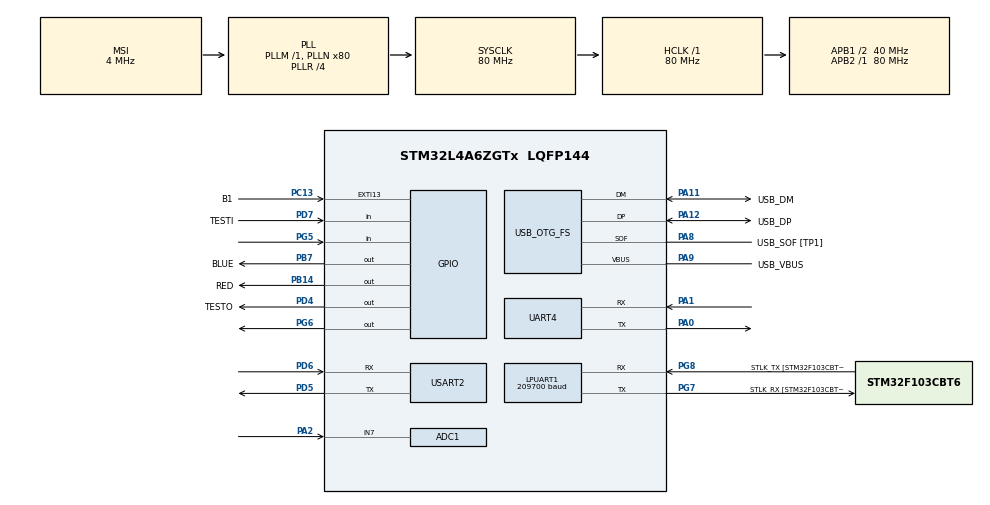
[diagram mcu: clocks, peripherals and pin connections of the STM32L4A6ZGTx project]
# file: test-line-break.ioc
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ADC1.Channel-2\#ChannelRegularConversion=ADC_CHANNEL_7
ADC1.NbrOfConversionFlag=1
ADC1.OffsetNumber-2\#ChannelRegularConversion=ADC_OFFSET_NONE
ADC1.Rank-2\#ChannelRegularConversion=1
ADC1.SamplingTime-2\#ChannelRegularConversion=ADC_SAMPLETIME_2CYCLES_5
ADC1.master=1
Dma.Request0=USART2_RX
Dma.Request1=USART2_TX
Dma.USART2_RX.0.Direction=DMA_PERIPH_TO_MEMORY
Dma.USART2_RX.0.Instance=DMA1_Channel6
Dma.USART2_RX.0.MemDataAlignment=DMA_MDATAALIGN_BYTE
Dma.USART2_RX.0.MemInc=DMA_MINC_ENABLE
Dma.USART2_RX.0.Mode=DMA_NORMAL
Dma.USART2_RX.0.PeriphDataAlignment=DMA_PDATAALIGN_BYTE
Dma.USART2_RX.0.PeriphInc=DMA_PINC_DISABLE
Dma.USART2_RX.0.Priority=DMA_PRIORITY_LOW
Dma.USART2_TX.1.Direction=DMA_MEMORY_TO_PERIPH
Dma.USART2_TX.1.Instance=DMA1_Channel7
Dma.USART2_TX.1.MemDataAlignment=DMA_MDATAALIGN_BYTE
Dma.USART2_TX.1.MemInc=DMA_MINC_ENABLE
Dma.USART2_TX.1.Mode=DMA_NORMAL
Dma.USART2_TX.1.PeriphDataAlignment=DMA_PDATAALIGN_BYTE
Dma.USART2_TX.1.PeriphInc=DMA_PINC_DISABLE
Dma.USART2_TX.1.Priority=DMA_PRIORITY_LOW
LPUART1.AutoBaudRateEnableParam=UART_ADVFEATURE_AUTOBAUDRATE_DISABLE
LPUART1.BaudRate=209700
LPUART1.DMADisableonRxErrorParam=UART_ADVFEATURE_DMA_ENABLEONRXERROR
LPUART1.DataInvertParam=UART_ADVFEATURE_DATAINV_DISABLE
LPUART1.MSBFirstParam=UART_ADVFEATURE_MSBFIRST_DISABLE
LPUART1.Mode=UART_MODE_TX_RX
LPUART1.OneBitSampling=UART_ONE_BIT_SAMPLE_DISABLE
LPUART1.OverrunDisableParam=UART_ADVFEATURE_OVERRUN_ENABLE
LPUART1.Parity=UART_PARITY_NONE
LPUART1.RxPinLevelInvertParam=UART_ADVFEATURE_RXINV_DISABLE
LPUART1.StopBits=UART_STOPBITS_1
LPUART1.SwapParam=UART_ADVFEATURE_SWAP_DISABLE
LPUART1.TxPinLevelInvertParam=UART_ADVFEATURE_TXINV_DISABLE
LPUART1.WordLength=UART_WORDLENGTH_7B
Mcu.Family=STM32L4
Mcu.Name=STM32L4A6ZGTx
Mcu.Package=LQFP144
NVIC.DMA1_Channel6_IRQn=true\:0\:0\:false\:false\:true\:false\:true
NVIC.DMA1_Channel7_IRQn=true\:0\:0\:false\:false\:true\:false\:true
NVIC.PriorityGroup=NVIC_PRIORITYGROUP_4
NVIC.USART2_IRQn=true\:0\:0\:false\:false\:true\:true\:true
PA0.Mode=Asynchronous
PA0.Signal=UART4_TX
PA1.Mode=Asynchronous
PA1.Signal=UART4_RX
PA10.GPIO_Label=USB_ID
PA10.Signal=USB_OTG_FS_ID
PA11.GPIO_Label=USB_DM
PA11.Mode=Device_Only
PA11.Signal=USB_OTG_FS_DM
PA12.GPIO_Label=USB_DP
PA12.Mode=Device_Only
PA12.Signal=USB_OTG_FS_DP
PA13\ (JTMS/SWDIO).GPIO_Label=TMS
PA13\ (JTMS/SWDIO).Mode=Trace_Asynchronous_SW
PA13\ (JTMS/SWDIO).Signal=SYS_JTMS-SWDIO
PA14\ (JTCK/SWCLK).GPIO_Label=TCK
PA14\ (JTCK/SWCLK).Mode=Trace_Asynchronous_SW
PA14\ (JTCK/SWCLK).Signal=SYS_JTCK-SWCLK
PA2.Signal=ADCx_IN7
PA8.GPIO_Label=USB_SOF [TP1]
PA8.Mode=Activate_SOF_FS
PA8.Signal=USB_OTG_FS_SOF
PA9.GPIO_Label=USB_VBUS
PA9.Mode=Activate_VBUS
PA9.Signal=USB_OTG_FS_VBUS
PB14.GPIO_Label=RED
PB14.Signal=GPIO_Output
PB3\ (JTDO/TRACESWO).GPIO_Label=SWO
PB3\ (JTDO/TRACESWO).Mode=Trace_Asynchronous_SW
PB3\ (JTDO/TRACESWO).Signal=SYS_JTDO-SWO
PB7.GPIO_Label=BLUE
PB7.Signal=GPIO_Output
PC13.GPIO_Label=B1
PC13.Signal=GPXTI13
PC14-OSC32_IN\ (PC14).Mode=LSE-External-Oscillator
PC14-OSC32_IN\ (PC14).Signal=RCC_OSC32_IN
PC15-OSC32_OUT\ (PC15).Mode=LSE-External-Oscillator
PC15-OSC32_OUT\ (PC15).Signal=RCC_OSC32_OUT
PD4.GPIO_Label=TESTO
PD4.Signal=GPIO_Output
PD5.Mode=Asynchronous
PD5.Signal=USART2_TX
PD6.Mode=Asynchronous
PD6.Signal=USART2_RX
PD7.GPIO_Label=TESTI
PD7.Signal=GPIO_Input
PG5.Signal=GPIO_Input
PG6.Signal=GPIO_Output
PG7.GPIO_Label=STLK_RX [STM32F103CBT6_PA3]
PG7.Mode=Asynchronous
PG7.Signal=LPUART1_TX
PG8.GPIO_Label=STLK_TX [STM32F103CBT6_PA2]
PG8.Mode=Asynchronous
PG8.Signal=LPUART1_RX
PH1-OSC_OUT\ (PH1).Signal=RCC_OSC_OUT
ProjectManager.HeapSize=0x200
ProjectManager.StackSize=0x400
ProjectManager.TargetToolchain=SW4STM32
RCC.ADCFreq_Value=48000000
RCC.AHBFreq_Value=80000000
RCC.APB1CLKDivider=RCC_HCLK_DIV2
RCC.APB1Freq_Value=40000000
RCC.APB1TimFreq_Value=80000000
RCC.APB2Freq_Value=80000000
RCC.APB2TimFreq_Value=80000000
RCC.CortexFreq_Value=80000000
RCC.FLatency=FLASH_LATENCY_4
RCC.HCLKFreq_Value=80000000
RCC.HSE_VALUE=8000000
RCC.HSI48_VALUE=48000000
RCC.HSI_VALUE=16000000
RCC.MSI_VALUE=4000000
RCC.PLLN=80
RCC.PLLR=RCC_PLLR_DIV4
RCC.PLLSAI1N=24
RCC.SYSCLKFreq_VALUE=80000000
RCC.SYSCLKSource=RCC_SYSCLKSOURCE_PLLCLK
RCC.USBFreq_Value=48000000
RCC.VCOOutputFreq_Value=320000000
SH.ADCx_IN7.0=ADC2_IN7
SH.ADCx_IN7.1=ADC1_IN7,IN7-Single-Ended
USART2.VirtualMode-Asynchronous=VM_ASYNC
USB_OTG_FS.Sof_enable=ENABLE
USB_OTG_FS.VirtualMode=Device_Only
USB_OTG_FS.battery_charging_enable=ENABLE
USB_OTG_FS.low_power_enable=DISABLE
USB_OTG_FS.lpm_enable=DISABLE
USB_OTG_FS.use_dedicated_ep1=DISABLE
USB_OTG_FS.vbus_sensing_enable=ENABLE
board=NUCLEO-L4A6ZG

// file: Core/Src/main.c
/* USER CODE BEGIN Header */
/**
  ******************************************************************************
  * @file           : main.c
  * @brief          : Main program body
  ******************************************************************************
  * @attention
  *
  * <h2><center>&copy; Copyright (c) 2021 STMicroelectronics.
  * All rights reserved.</center></h2>
  *
  * This software component is licensed by ST under BSD 3-Clause license,
  * the "License"; You may not use this file except in compliance with the
  * License. You may obtain a copy of the License at:
  *                        opensource.org/licenses/BSD-3-Clause
  *
  ******************************************************************************
  */
/* USER CODE END Header */
#include "main.h"

ADC_HandleTypeDef hadc1;

UART_HandleTypeDef hlpuart1;
UART_HandleTypeDef huart4;
UART_HandleTypeDef huart2;
DMA_HandleTypeDef hdma_usart2_rx;
DMA_HandleTypeDef hdma_usart2_tx;

PCD_HandleTypeDef hpcd_USB_OTG_FS;

void SystemClock_Config(void);
static void MX_GPIO_Init(void);
static void MX_DMA_Init(void);
static void MX_LPUART1_UART_Init(void);
static void MX_USART2_UART_Init(void);
static void MX_USB_OTG_FS_PCD_Init(void);
static void MX_UART4_Init(void);
static void MX_ADC1_Init(void);
/* USER CODE BEGIN PFP */

volatile uint32_t adcv;
volatile uint32_t lbrk;
volatile uint32_t *ptr;
char str[128];

void uart_send(char *s, int n) {
	USART_TypeDef *uart = USART2;
	for (int i = 0; i < n; ++i) {
		while ((uart->ISR & USART_ISR_TXE) == 0) { ; }
		uart->TDR = s[i];
	}
	while ((uart->ISR & USART_ISR_TXE) == 0) { ; }
}

uint32_t calibrate_adc(ADC_TypeDef *adc)
{
	adc->CR &= ~(ADC_CR_DEEPPWD);
	adc->CR |= (ADC_CR_ADVREGEN);
	HAL_Delay(250);
	adc->CR &= ~(ADC_CR_ADEN);
	adc->CR &= ~(ADC_CR_ADCALDIF);
	adc->CR |= (ADC_CR_ADCAL);
	while (adc->CR & ADC_CR_ADCAL) { ; }
	uint32_t cal_fact = adc->CALFACT;
	return cal_fact;
}

/* USER CODE END PFP */

int main(void)
{

  /* MCU Configuration--------------------------------------------------------*/

  /* Reset of all peripherals, Initializes the Flash interface and the Systick. */
  HAL_Init();

  /* Configure the system clock */
  SystemClock_Config();

  /* Initialize all configured peripherals */
  MX_GPIO_Init();
  MX_DMA_Init();
  MX_LPUART1_UART_Init();
  MX_USART2_UART_Init();
  MX_USB_OTG_FS_PCD_Init();
  MX_UART4_Init();
  MX_ADC1_Init();

  /* Infinite loop */
  /* USER CODE BEGIN WHILE */

  ADC_TypeDef *adc = ADC1;
  HAL_Delay(1000); /* after enabling vref */

  calibrate_adc(adc);

  adc->CR |= (ADC_CR_ADEN);

  USART_TypeDef *uart = USART2;
  int cntr = 0;

  while (1)
  {

	  ADC_TypeDef *adc = ADC1;
	  if (adc->CR & ADC_CR_ADEN) {
		  adc->SQR1 = (6 << ADC_SQR1_SQ1_Pos);
		  adc->CR |= (ADC_CR_ADSTART);
		  while (adc->CR & ADC_CR_ADSTART) { ; }
		  HAL_Delay(100);
		  adcv = adc->DR;
		  ++cntr;
		  int n = snprintf(str, sizeof (str), "%4.4d ADC=0x%4.4x\r\n", cntr, adcv);
		  uart_send(str, n);
	  }

#if 0
	  HAL_Delay(500);
	  RED_GPIO_Port->BSRR = (RED_Pin << 0x10);
	  HAL_Delay(500);
	  RED_GPIO_Port->BSRR = (RED_Pin << 0x00);

	  uint32_t status = uart->ISR;
	  if (status & USART_ISR_RXNE) {
		  uint8_t c = uart->RDR;
		  uart->TDR = c + 1;
	  }
#endif

#if 0
	  lbrk = status & USART_ISR_LBDF;
	  while (lbrk) {
		  HAL_Delay(100);
		  RED_GPIO_Port->BSRR = (RED_Pin << 0x10);
		  HAL_Delay(100);
		  RED_GPIO_Port->BSRR = (RED_Pin << 0x00);
		  status = uart->ISR;
		  lbrk = status & USART_ISR_LBDF;
	  }
#endif

#if 0
	  lbrk = status & USART_ISR_FE;
	  while (lbrk) {
		  HAL_Delay(100);
		  RED_GPIO_Port->BSRR = (RED_Pin << 0x10);
		  HAL_Delay(100);
		  RED_GPIO_Port->BSRR = (RED_Pin << 0x00);
		  status = uart->ISR;
		  lbrk = status & USART_ISR_FE;
	  }
#endif

#if 0
	  lbrk = GPIOD->IDR;
	  if (lbrk & (1 << 6)) {
		  // RED_GPIO_Port->BSRR = (RED_Pin << 0x10);
		  GPIOB->BSRR = (1 << (7 + 0 * 0x10));
	  } else {
		  // RED_GPIO_Port->BSRR = (RED_Pin << 0x00);
		  GPIOB->BSRR = (1 << (7 + 1 * 0x10));
	  }
#endif

    /* USER CODE END WHILE */

  }
}

void SystemClock_Config(void)
{
  RCC_OscInitTypeDef RCC_OscInitStruct = {0};
  RCC_ClkInitTypeDef RCC_ClkInitStruct = {0};
  RCC_PeriphCLKInitTypeDef PeriphClkInit = {0};

  /** Configure LSE Drive Capability
  */
  HAL_PWR_EnableBkUpAccess();
  __HAL_RCC_LSEDRIVE_CONFIG(RCC_LSEDRIVE_LOW);
  /** Initializes the RCC Oscillators according to the specified parameters
  * in the RCC_OscInitTypeDef structure.
  */
  RCC_OscInitStruct.OscillatorType = RCC_OSCILLATORTYPE_LSE|RCC_OSCILLATORTYPE_MSI;
  RCC_OscInitStruct.LSEState = RCC_LSE_ON;
  RCC_OscInitStruct.MSIState = RCC_MSI_ON;
  RCC_OscInitStruct.MSICalibrationValue = 0;
  RCC_OscInitStruct.MSIClockRange = RCC_MSIRANGE_6;
  RCC_OscInitStruct.PLL.PLLState = RCC_PLL_ON;
  RCC_OscInitStruct.PLL.PLLSource = RCC_PLLSOURCE_MSI;
  RCC_OscInitStruct.PLL.PLLM = 1;
  RCC_OscInitStruct.PLL.PLLN = 80;
  RCC_OscInitStruct.PLL.PLLP = RCC_PLLP_DIV2;
  RCC_OscInitStruct.PLL.PLLQ = RCC_PLLQ_DIV2;
  RCC_OscInitStruct.PLL.PLLR = RCC_PLLR_DIV4;
  if (HAL_RCC_OscConfig(&RCC_OscInitStruct) != HAL_OK)
  {
    Error_Handler();
  }
  /** Initializes the CPU, AHB and APB buses clocks
  */
  RCC_ClkInitStruct.ClockType = RCC_CLOCKTYPE_HCLK|RCC_CLOCKTYPE_SYSCLK
                              |RCC_CLOCKTYPE_PCLK1|RCC_CLOCKTYPE_PCLK2;
  RCC_ClkInitStruct.SYSCLKSource = RCC_SYSCLKSOURCE_PLLCLK;
  RCC_ClkInitStruct.AHBCLKDivider = RCC_SYSCLK_DIV1;
  RCC_ClkInitStruct.APB1CLKDivider = RCC_HCLK_DIV2;
  RCC_ClkInitStruct.APB2CLKDivider = RCC_HCLK_DIV1;

  if (HAL_RCC_ClockConfig(&RCC_ClkInitStruct, FLASH_LATENCY_4) != HAL_OK)
  {
    Error_Handler();
  }
  PeriphClkInit.PeriphClockSelection = RCC_PERIPHCLK_USART2|RCC_PERIPHCLK_UART4
                              |RCC_PERIPHCLK_LPUART1|RCC_PERIPHCLK_USB
                              |RCC_PERIPHCLK_ADC;
  PeriphClkInit.Usart2ClockSelection = RCC_USART2CLKSOURCE_PCLK1;
  PeriphClkInit.Uart4ClockSelection = RCC_UART4CLKSOURCE_PCLK1;
  PeriphClkInit.Lpuart1ClockSelection = RCC_LPUART1CLKSOURCE_PCLK1;
  PeriphClkInit.AdcClockSelection = RCC_ADCCLKSOURCE_PLLSAI1;
  PeriphClkInit.UsbClockSelection = RCC_USBCLKSOURCE_PLLSAI1;
  PeriphClkInit.PLLSAI1.PLLSAI1Source = RCC_PLLSOURCE_MSI;
  PeriphClkInit.PLLSAI1.PLLSAI1M = 1;
  PeriphClkInit.PLLSAI1.PLLSAI1N = 24;
  PeriphClkInit.PLLSAI1.PLLSAI1P = RCC_PLLP_DIV2;
  PeriphClkInit.PLLSAI1.PLLSAI1Q = RCC_PLLQ_DIV2;
  PeriphClkInit.PLLSAI1.PLLSAI1R = RCC_PLLR_DIV2;
  PeriphClkInit.PLLSAI1.PLLSAI1ClockOut = RCC_PLLSAI1_48M2CLK|RCC_PLLSAI1_ADC1CLK;
  if (HAL_RCCEx_PeriphCLKConfig(&PeriphClkInit) != HAL_OK)
  {
    Error_Handler();
  }
  /** Configure the main internal regulator output voltage
  */
  if (HAL_PWREx_ControlVoltageScaling(PWR_REGULATOR_VOLTAGE_SCALE1) != HAL_OK)
  {
    Error_Handler();
  }
  /** Enable MSI Auto calibration
  */
  HAL_RCCEx_EnableMSIPLLMode();
}

static void MX_ADC1_Init(void)
{

  ADC_MultiModeTypeDef multimode = {0};
  ADC_ChannelConfTypeDef sConfig = {0};

  /** Common config
  */
  hadc1.Instance = ADC1;
  hadc1.Init.ClockPrescaler = ADC_CLOCK_ASYNC_DIV1;
  hadc1.Init.Resolution = ADC_RESOLUTION_12B;
  hadc1.Init.DataAlign = ADC_DATAALIGN_RIGHT;
  hadc1.Init.ScanConvMode = ADC_SCAN_DISABLE;
  hadc1.Init.EOCSelection = ADC_EOC_SINGLE_CONV;
  hadc1.Init.LowPowerAutoWait = DISABLE;
  hadc1.Init.ContinuousConvMode = DISABLE;
  hadc1.Init.NbrOfConversion = 1;
  hadc1.Init.DiscontinuousConvMode = DISABLE;
  hadc1.Init.ExternalTrigConv = ADC_SOFTWARE_START;
  hadc1.Init.ExternalTrigConvEdge = ADC_EXTERNALTRIGCONVEDGE_NONE;
  hadc1.Init.DMAContinuousRequests = DISABLE;
  hadc1.Init.Overrun = ADC_OVR_DATA_PRESERVED;
  hadc1.Init.OversamplingMode = DISABLE;
  if (HAL_ADC_Init(&hadc1) != HAL_OK)
  {
    Error_Handler();
  }
  /** Configure the ADC multi-mode
  */
  multimode.Mode = ADC_MODE_INDEPENDENT;
  if (HAL_ADCEx_MultiModeConfigChannel(&hadc1, &multimode) != HAL_OK)
  {
    Error_Handler();
  }
  /** Configure Regular Channel
  */
  sConfig.Channel = ADC_CHANNEL_7;
  sConfig.Rank = ADC_REGULAR_RANK_1;
  sConfig.SamplingTime = ADC_SAMPLETIME_2CYCLES_5;
  sConfig.SingleDiff = ADC_SINGLE_ENDED;
  sConfig.OffsetNumber = ADC_OFFSET_NONE;
  sConfig.Offset = 0;
  if (HAL_ADC_ConfigChannel(&hadc1, &sConfig) != HAL_OK)
  {
    Error_Handler();
  }
  /* USER CODE BEGIN ADC1_Init 2 */

  ADC_TypeDef *adc = ADC1;
  adc->CR &= ~(ADC_CR_ADEN);

  ADC123_COMMON->CCR |= (ADC_CCR_VREFEN);

  adcv = GPIOA->MODER;
  adcv &= ~(GPIO_MODER_MODE1_Msk);
  adcv |= (3 << GPIO_MODER_MODE1_Pos);
  GPIOA->MODER = adcv;

#if 1
  // adc->SQR1 &= ~(ADC_SQR1_SQ1_Msk | ADC_SQR1_L_Msk);
  // adc->SQR1 = (6 << ADC_SQR1_SQ1_Pos) | (0 << ADC_SQR1_L_Pos);
//  ptr = &GPIOA->BRR;
//  adcv = ptr[1];
//  adcv |= (1 << 1);
//  ptr[1] = adcv;
#endif

  /* USER CODE END ADC1_Init 2 */

}

static void MX_LPUART1_UART_Init(void)
{

  hlpuart1.Instance = LPUART1;
  hlpuart1.Init.BaudRate = 209700;
  hlpuart1.Init.WordLength = UART_WORDLENGTH_7B;
  hlpuart1.Init.StopBits = UART_STOPBITS_1;
  hlpuart1.Init.Parity = UART_PARITY_NONE;
  hlpuart1.Init.Mode = UART_MODE_TX_RX;
  hlpuart1.Init.HwFlowCtl = UART_HWCONTROL_NONE;
  hlpuart1.Init.OneBitSampling = UART_ONE_BIT_SAMPLE_DISABLE;
  hlpuart1.AdvancedInit.AdvFeatureInit = UART_ADVFEATURE_NO_INIT;
  if (HAL_UART_Init(&hlpuart1) != HAL_OK)
  {
    Error_Handler();
  }

}

static void MX_UART4_Init(void)
{

  huart4.Instance = UART4;
  huart4.Init.BaudRate = 115200;
  huart4.Init.WordLength = UART_WORDLENGTH_8B;
  huart4.Init.StopBits = UART_STOPBITS_1;
  huart4.Init.Parity = UART_PARITY_NONE;
  huart4.Init.Mode = UART_MODE_TX_RX;
  huart4.Init.HwFlowCtl = UART_HWCONTROL_NONE;
  huart4.Init.OverSampling = UART_OVERSAMPLING_16;
  huart4.Init.OneBitSampling = UART_ONE_BIT_SAMPLE_DISABLE;
  huart4.AdvancedInit.AdvFeatureInit = UART_ADVFEATURE_NO_INIT;
  if (HAL_UART_Init(&huart4) != HAL_OK)
  {
    Error_Handler();
  }
  /* USER CODE BEGIN UART4_Init 2 */

  USART_TypeDef *uart = UART4;
  uart->CR2 |= (USART_CR2_LINEN);
  uart->CR1 |= (USART_CR1_RE | USART_CR1_TE | USART_CR1_UE);

  /* USER CODE END UART4_Init 2 */

}

static void MX_USART2_UART_Init(void)
{

  huart2.Instance = USART2;
  huart2.Init.BaudRate = 115200;
  huart2.Init.WordLength = UART_WORDLENGTH_8B;
  huart2.Init.StopBits = UART_STOPBITS_1;
  huart2.Init.Parity = UART_PARITY_NONE;
  huart2.Init.Mode = UART_MODE_TX_RX;
  huart2.Init.HwFlowCtl = UART_HWCONTROL_NONE;
  huart2.Init.OverSampling = UART_OVERSAMPLING_16;
  huart2.Init.OneBitSampling = UART_ONE_BIT_SAMPLE_DISABLE;
  huart2.AdvancedInit.AdvFeatureInit = UART_ADVFEATURE_NO_INIT;
  if (HAL_UART_Init(&huart2) != HAL_OK)
  {
    Error_Handler();
  }
  /* USER CODE BEGIN USART2_Init 2 */

  USART_TypeDef *uart = USART2;
  uart->CR2 |= (USART_CR2_LINEN);
  uart->CR1 |= (USART_CR1_RE | USART_CR1_TE | USART_CR1_UE);

  /* USER CODE END USART2_Init 2 */

}

static void MX_USB_OTG_FS_PCD_Init(void)
{

  hpcd_USB_OTG_FS.Instance = USB_OTG_FS;
  hpcd_USB_OTG_FS.Init.dev_endpoints = 6;
  hpcd_USB_OTG_FS.Init.speed = PCD_SPEED_FULL;
  hpcd_USB_OTG_FS.Init.phy_itface = PCD_PHY_EMBEDDED;
  hpcd_USB_OTG_FS.Init.Sof_enable = ENABLE;
  hpcd_USB_OTG_FS.Init.low_power_enable = DISABLE;
  hpcd_USB_OTG_FS.Init.lpm_enable = DISABLE;
  hpcd_USB_OTG_FS.Init.battery_charging_enable = ENABLE;
  hpcd_USB_OTG_FS.Init.use_dedicated_ep1 = DISABLE;
  hpcd_USB_OTG_FS.Init.vbus_sensing_enable = ENABLE;
  if (HAL_PCD_Init(&hpcd_USB_OTG_FS) != HAL_OK)
  {
    Error_Handler();
  }

}

static void MX_DMA_Init(void)
{

  /* DMA controller clock enable */
  __HAL_RCC_DMA1_CLK_ENABLE();

  /* DMA interrupt init */
  /* DMA1_Channel6_IRQn interrupt configuration */
  HAL_NVIC_SetPriority(DMA1_Channel6_IRQn, 0, 0);
  HAL_NVIC_EnableIRQ(DMA1_Channel6_IRQn);
  /* DMA1_Channel7_IRQn interrupt configuration */
  HAL_NVIC_SetPriority(DMA1_Channel7_IRQn, 0, 0);
  HAL_NVIC_EnableIRQ(DMA1_Channel7_IRQn);

}

static void MX_GPIO_Init(void)
{
  GPIO_InitTypeDef GPIO_InitStruct = {0};

  /* GPIO Ports Clock Enable */
  __HAL_RCC_GPIOC_CLK_ENABLE();
  __HAL_RCC_GPIOH_CLK_ENABLE();
  __HAL_RCC_GPIOA_CLK_ENABLE();
  __HAL_RCC_GPIOB_CLK_ENABLE();
  __HAL_RCC_GPIOG_CLK_ENABLE();
  HAL_PWREx_EnableVddIO2();
  __HAL_RCC_GPIOD_CLK_ENABLE();

  /*Configure GPIO pin Output Level */
  HAL_GPIO_WritePin(GPIOB, RED_Pin|BLUE_Pin, GPIO_PIN_RESET);

  /*Configure GPIO pin Output Level */
  HAL_GPIO_WritePin(GPIOG, GPIO_PIN_6, GPIO_PIN_RESET);

  /*Configure GPIO pin Output Level */
  HAL_GPIO_WritePin(TESTO_GPIO_Port, TESTO_Pin, GPIO_PIN_RESET);

  /*Configure GPIO pin : B1_Pin */
  GPIO_InitStruct.Pin = B1_Pin;
  GPIO_InitStruct.Mode = GPIO_MODE_IT_RISING;
  GPIO_InitStruct.Pull = GPIO_NOPULL;
  HAL_GPIO_Init(B1_GPIO_Port, &GPIO_InitStruct);

  /*Configure GPIO pin : PA2 */
  GPIO_InitStruct.Pin = GPIO_PIN_2;
  GPIO_InitStruct.Mode = GPIO_MODE_ANALOG_ADC_CONTROL;
  GPIO_InitStruct.Pull = GPIO_NOPULL;
  HAL_GPIO_Init(GPIOA, &GPIO_InitStruct);

  /*Configure GPIO pins : RED_Pin BLUE_Pin */
  GPIO_InitStruct.Pin = RED_Pin|BLUE_Pin;
  GPIO_InitStruct.Mode = GPIO_MODE_OUTPUT_PP;
  GPIO_InitStruct.Pull = GPIO_NOPULL;
  GPIO_InitStruct.Speed = GPIO_SPEED_FREQ_LOW;
  HAL_GPIO_Init(GPIOB, &GPIO_InitStruct);

  /*Configure GPIO pin : PG5 */
  GPIO_InitStruct.Pin = GPIO_PIN_5;
  GPIO_InitStruct.Mode = GPIO_MODE_INPUT;
  GPIO_InitStruct.Pull = GPIO_NOPULL;
  HAL_GPIO_Init(GPIOG, &GPIO_InitStruct);

  /*Configure GPIO pin : PG6 */
  GPIO_InitStruct.Pin = GPIO_PIN_6;
  GPIO_InitStruct.Mode = GPIO_MODE_OUTPUT_PP;
  GPIO_InitStruct.Pull = GPIO_NOPULL;
  GPIO_InitStruct.Speed = GPIO_SPEED_FREQ_LOW;
  HAL_GPIO_Init(GPIOG, &GPIO_InitStruct);

  /*Configure GPIO pin : TESTO_Pin */
  GPIO_InitStruct.Pin = TESTO_Pin;
  GPIO_InitStruct.Mode = GPIO_MODE_OUTPUT_PP;
  GPIO_InitStruct.Pull = GPIO_NOPULL;
  GPIO_InitStruct.Speed = GPIO_SPEED_FREQ_LOW;
  HAL_GPIO_Init(TESTO_GPIO_Port, &GPIO_InitStruct);

  /*Configure GPIO pin : TESTI_Pin */
  GPIO_InitStruct.Pin = TESTI_Pin;
  GPIO_InitStruct.Mode = GPIO_MODE_INPUT;
  GPIO_InitStruct.Pull = GPIO_NOPULL;
  HAL_GPIO_Init(TESTI_GPIO_Port, &GPIO_InitStruct);

}

void Error_Handler(void)
{
  __disable_irq();
  while (1)
  {
  }
}

/************************ (C) COPYRIGHT STMicroelectronics *****END OF FILE****/
